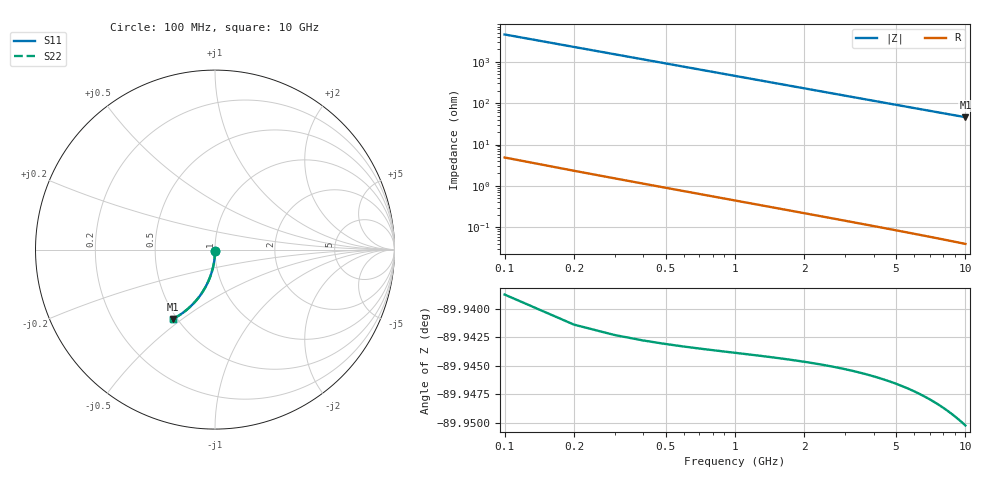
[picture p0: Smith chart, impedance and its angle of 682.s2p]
# Hz S RI R 50.00
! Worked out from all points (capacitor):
!   100 points, 100 MHz to 10 GHz, reference 50 ohm
!   read as one part in shunt: C = 351 fF near 100 MHz
!   lowest |Z| = 45.8 ohm at 10 GHz (marker M1)
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1e8  0.000191 -0.00513  0.9997 -0.00588  0.9997 -0.00588  0.000191 -0.00513
2e8  9.66e-05 -0.0103  0.9996 -0.0118  0.9996 -0.0118  9.66e-05 -0.0103
3e8  -5.86e-05 -0.0154  0.9995 -0.0176  0.9995 -0.0176  -5.86e-05 -0.0154
4e8  -0.000274 -0.0205  0.9993 -0.0235  0.9993 -0.0235  -0.000274 -0.0205
5e8  -0.00055 -0.0256  0.999 -0.0294  0.999 -0.0294  -0.00055 -0.0256
6e8  -0.000886 -0.0308  0.9986 -0.0353  0.9986 -0.0353  -0.000886 -0.0308
7e8  -0.00128 -0.0359  0.9982 -0.0411  0.9982 -0.0411  -0.00128 -0.0359
8e8  -0.00174 -0.041  0.9978 -0.047  0.9978 -0.047  -0.00174 -0.041
9e8  -0.00226 -0.0461  0.9973 -0.0528  0.9973 -0.0528  -0.00226 -0.0461
1.1e9  -0.00347 -0.0562  0.996 -0.0645  0.996 -0.0645  -0.00347 -0.0562
1.4e9  -0.00573 -0.0714  0.9937 -0.0819  0.9937 -0.0819  -0.00573 -0.0714
1.8e9  -0.00956 -0.0915  0.9899 -0.105  0.9899 -0.105  -0.00956 -0.0915
2.1e9  -0.013 -0.1063  0.9864 -0.1221  0.9864 -0.1221  -0.013 -0.1063
2.5e9  -0.0184 -0.1259  0.9809 -0.1446  0.9809 -0.1446  -0.0184 -0.1259
2.9e9  -0.0247 -0.145  0.9745 -0.1668  0.9745 -0.1668  -0.0247 -0.145
3.4e9  -0.0338 -0.1684  0.9654 -0.194  0.9654 -0.194  -0.0338 -0.1684
4.2e9  -0.0508 -0.2043  0.9482 -0.2358  0.9482 -0.2358  -0.0508 -0.2043
5.1e9  -0.0733 -0.2419  0.9255 -0.2803  0.9255 -0.2803  -0.0733 -0.2419
5.9e9  -0.0959 -0.2728  0.9026 -0.3172  0.9026 -0.3172  -0.0959 -0.2728
6.7e9  -0.1206 -0.3009  0.8776 -0.3515  0.8776 -0.3515  -0.1206 -0.3009
8.4e9  -0.1781 -0.3514  0.8193 -0.4149  0.8193 -0.4149  -0.1781 -0.3514
1e10  -0.2359 -0.3872  0.7606 -0.4631  0.7606 -0.4631  -0.2359 -0.3872
